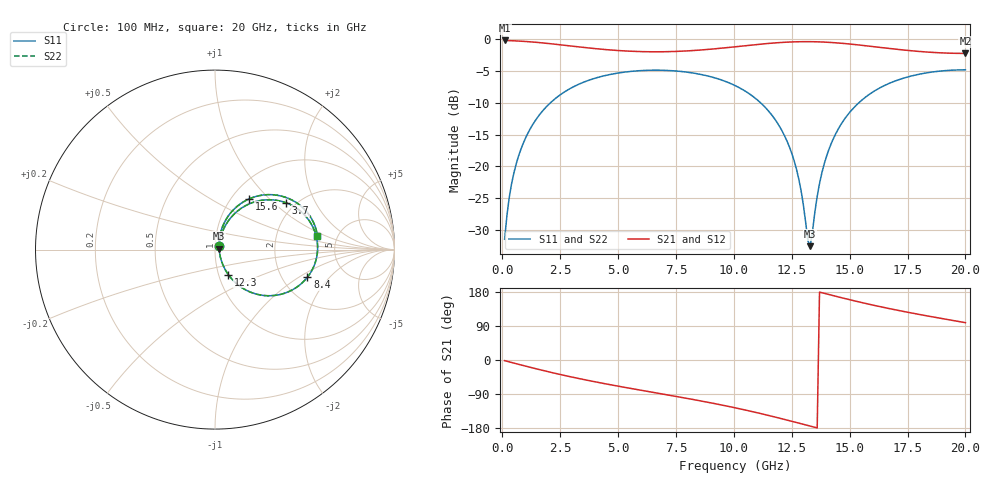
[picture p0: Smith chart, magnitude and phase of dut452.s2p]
! Touchstone file exported from HFSS 2026.1.0
!  File:  C:/ffzhzh/LocalFiles/Ansys_Project_Files/temp_train_TSV_RDL_452_1783100107_37876.aedt
!  Generated:  01:47:27 AM Jul  4, 2026
!  Design:  TSV_RDL
!  Project:  temp_train_TSV_RDL_452_1783100107_37876
! Variables:
!  h_bsmrdl = 5.66um
!  h_ox = 20um
!  h_rdl = 5um
!  h_sub = 71.81um
!  h_tmrdl = 3.1um
!  h_tsv = 71.81um
!  h_via = 3um
!  l_bsmrdl = 249.04um
!  l_sub = 4446.21um
!  l_tmrdl = 792.65um
!  m_sub = 200um
!  pitch = 57.69um
!  r_tsv = 12.57um
!  s_tmrdl = 10um
!  w_bsmrdl = 21.36um
!  w_sub = 500um
!  w_tmrdl = 21.47um
!  x_tsv_center1 = 803.385um
!  x_tsv_center2 = 1073.785um
!  x_tsv_center3 = 1887.905um
!  x_tsv_center4 = 2158.305um
!  x_tsv_center5 = 2972.425um
!  x_tsv_center6 = 3242.825um
# GHz S MA R 50.000000
! Terminal data exported
! Port[1] = TM_RDL1_1_T1
! Port[2] = TM_RDL5_1_T1
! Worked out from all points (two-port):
!   200 points, 100 MHz to 20 GHz, reference 50 ohm
!   highest |S21| = -0.18 dB at 100 MHz (marker M1); lowest = -2.2 dB at 20 GHz (marker M2)
!   |S21| within 3 dB of the highest: start of sweep to end of sweep
!   lowest |S11| = -32.5 dB at 13.3 GHz (marker M3), VSWR 1.05, Z = 52.3 + j0.641 ohm
!   |S11| at or under -10 dB: start of sweep to 2.074 GHz; 11.16 GHz to 15.39 GHz (4.23 GHz wide, 31.9 % of centre)
!   |S22| runs from -32.6 to -4.8 dB; largest |S21 - S12| = 1.7e-14
!   S11 on the Smith chart (normalised r, x): 100 MHz: 1.04, +0.04; 3.7 GHz: 1.79, +1.21; 8.4 GHz: 2.74, -1.19; 12.3 GHz: 1.11, -0.32; 15.6 GHz: 1.20, +0.77; 20 GHz: 3.51, +0.81
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0.1  0.02676 40.6  0.98 -1.7  0.98 -1.7  0.02676 40.6
! Gamma 0 0 0 0
! Port Impedance 50 0 50 0
0.3  0.05689 63.0  0.9773 -5.0  0.9773 -5.0  0.05689 63.0
0.5  0.08881 67.0  0.9737 -8.2  0.9737 -8.2  0.08881 67.0
1.1  0.1819 64.7  0.9594 -17.6  0.9594 -17.6  0.1819 64.7
2.1  0.3195 53.0  0.9232 -32.6  0.9232 -32.6  0.3195 53.0
3.5  0.4593 35.7  0.8643 -51.4  0.8643 -51.4  0.4593 35.7
3.7  0.4741 33.4  0.8566 -53.9  0.8566 -53.9  0.4741 33.4
6.8  0.5717 0.1  0.7982 -88.5  0.7982 -88.5  0.5717 0.1
8.4  0.5371 -16.7  0.82 -106.0  0.82 -106.0  0.5371 -16.7
10.1  0.4289 -36.2  0.8757 -126.7  0.8757 -126.7  0.4289 -36.2
11.4  0.2859 -52.4  0.9254 -144.8  0.9254 -144.8  0.286 -52.4
12.3  0.1578 -61.9  0.9506 -158.5  0.9506 -158.5  0.1578 -62.0
12.8  0.08043 -61.4  0.9577 -166.4  0.9577 -166.4  0.08045 -61.4
13.2  0.02605 -21.5  0.9591 -172.8  0.9591 -172.8  0.02602 -21.6
13.3  0.02361 15.0  0.9588 -174.4  0.9588 -174.4  0.02355 15.0
13.4  0.03117 44.5  0.9582 -176.0  0.9582 -176.0  0.0311 44.5
13.7  0.0734 69.4  0.955 179.2  0.955 179.2  0.07334 69.5
14.1  0.1353 71.8  0.9475 172.9  0.9475 172.9  0.1352 71.8
14.7  0.2245 66.7  0.93 163.6  0.93 163.6  0.2245 66.7
15.6  0.3412 56.0  0.8947 150.5  0.8947 150.5  0.3412 56.0
16.7  0.4498 42.7  0.8481 135.8  0.8481 135.8  0.4497 42.7
20  0.5758 7.7  0.7748 98.6  0.7748 98.6  0.5758 7.7
